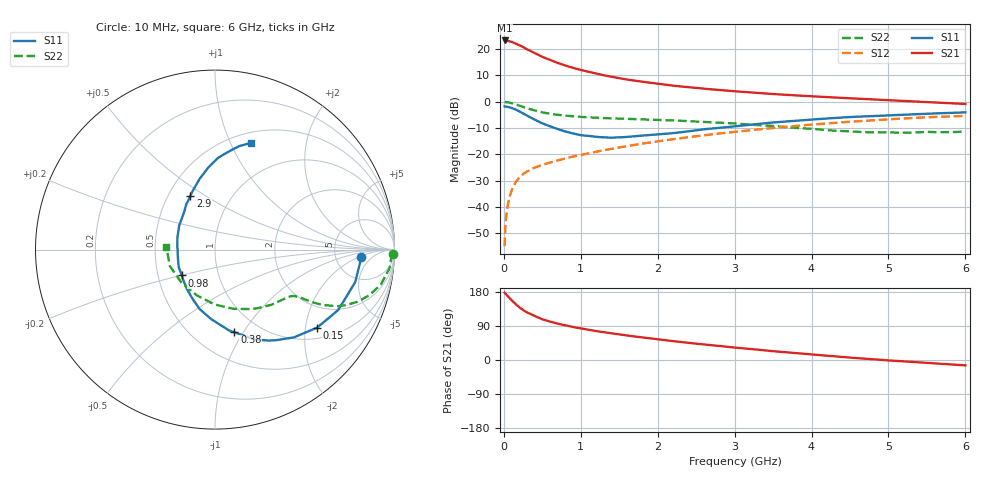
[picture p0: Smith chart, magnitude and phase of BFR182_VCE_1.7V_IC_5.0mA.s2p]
! Infineon Technologies  Discrete & RF Semiconductors
! BFR182
! VCE =  1.7 V,  IC =  5.0 mA
! Common Emitter S-Parameters:  Nov 2015
# GHz  S  MA  R  50
!  f  S11  S21  S12  S22
! GHz  MAG  ANG  MAG  ANG  MAG  ANG  MAG  ANG
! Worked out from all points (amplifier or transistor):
!   210 points, 10 MHz to 6 GHz, reference 50 ohm
!   highest |S21| = 23.3 dB at 10 MHz (marker M1)
!   |S21| within 3 dB of that: start of sweep to 280 MHz
!   unconditionally stable (mu >= 1): 1.029 GHz to 2.841 GHz
!   at 185 MHz: K = 0.34, MSG = 25.6 dB, |S12| = -29.4 dB
!   at 1.52 GHz: K = 1.06, MAG = 11.5 dB, |S12| = -17.3 dB
!   at 6 GHz: K = 0.89, MSG = 2.3 dB, |S12| = -5.4 dB
!   S11 on the Smith chart (normalised r, x): 10 MHz: 9.27, -2.20; 150 MHz: 1.30, -2.33; 380 MHz: 0.77, -0.91; 980 MHz: 0.66, -0.20; 2.9 GHz: 0.64, +0.43; 6 GHz: 0.61, +1.20
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0.01  0.8148 -2.8  14.59 177.8  0.0018 92.1  0.9902 -1.3
0.02  0.811 -5.4  14.28 175.3  0.0042 85.0  0.9831 -2.5
0.04  0.8032 -10.5  14.28 170.9  0.0085 83.5  0.9793 -4.9
0.05  0.8018 -13.1  14.31 168.7  0.0106 83.2  0.978 -6.1
0.1  0.7647 -26.1  13.83 158.0  0.0204 76.8  0.945 -11.8
0.15  0.7165 -37.3  12.77 147.8  0.029 71.3  0.8968 -16.5
0.2  0.6579 -48.0  11.96 139.3  0.0359 67.7  0.8458 -20.1
0.24  0.61 -55.8  11.14 133.2  0.0408 64.5  0.8044 -22.3
0.3  0.5488 -65.9  9.937 125.7  0.0473 62.5  0.7521 -24.8
0.38  0.4736 -76.8  8.68 118.1  0.0542 60.4  0.6955 -26.5
0.5  0.3885 -93.0  7.124 107.4  0.0628 59.2  0.6276 -28.2
0.6  0.3421 -104.5  6.203 101.3  0.0699 59.1  0.5888 -28.7
0.8  0.2723 -124.4  4.858 91.1  0.0839 59.4  0.5435 -29.4
0.98  0.2343 -142.0  4.087 83.9  0.0961 60.5  0.5179 -30.1
1.02  0.2295 -146.1  3.951 82.4  0.0989 60.7  0.5132 -30.3
1.4  0.2077 -178.3  2.97 70.4  0.1272 61.7  0.4838 -33.5
2.02  0.2411 145.3  2.173 54.1  0.1785 60.4  0.4509 -41.0
2.9  0.3293 114.6  1.626 34.9  0.2585 55.0  0.3934 -56.9
3.1  0.3522 110.3  1.541 31.0  0.2775 53.2  0.3766 -61.5
4.1  0.4694 93.2  1.245 13.0  0.3767 43.1  0.2966 -94.2
5.1  0.5593 81.0  1.057 -2.3  0.4717 30.6  0.2592 -140.1
6  0.6277 71.4  0.906 -14.2  0.5387 17.7  0.271 177.4
